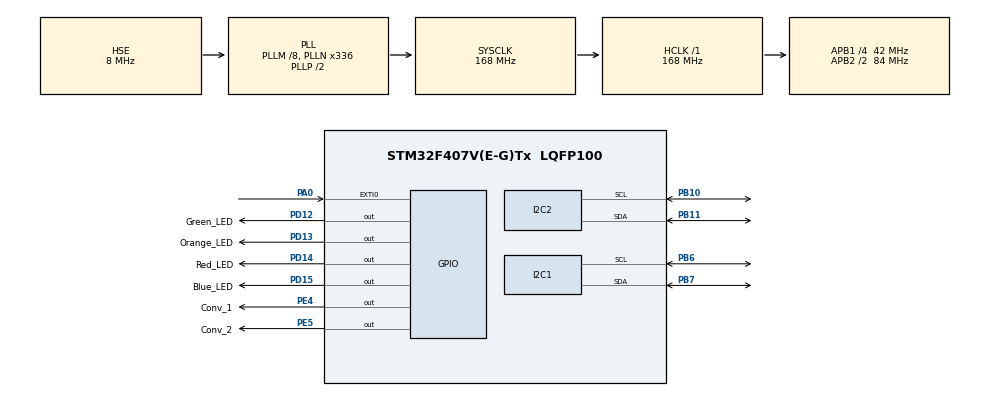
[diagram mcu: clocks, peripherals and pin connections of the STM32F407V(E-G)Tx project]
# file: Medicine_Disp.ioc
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Mcu.Family=STM32F4
Mcu.Name=STM32F407V(E-G)Tx
Mcu.Package=LQFP100
NVIC.PriorityGroup=NVIC_PRIORITYGROUP_0
PA0-WKUP.Signal=GPXTI0
PB10.Mode=I2C
PB10.Signal=I2C2_SCL
PB11.Mode=I2C
PB11.Signal=I2C2_SDA
PB6.Mode=I2C
PB6.Signal=I2C1_SCL
PB7.Mode=I2C
PB7.Signal=I2C1_SDA
PD12.GPIO_Label=Green_LED
PD12.Signal=GPIO_Output
PD13.GPIO_Label=Orange_LED
PD13.Signal=GPIO_Output
PD14.GPIO_Label=Red_LED
PD14.Signal=GPIO_Output
PD15.GPIO_Label=Blue_LED
PD15.Signal=GPIO_Output
PE4.GPIO_Label=Conv_1
PE4.Signal=GPIO_Output
PE5.GPIO_Label=Conv_2
PE5.Signal=GPIO_Output
PH0-OSC_IN.Mode=HSE-External-Oscillator
PH0-OSC_IN.Signal=RCC_OSC_IN
PH1-OSC_OUT.Mode=HSE-External-Oscillator
PH1-OSC_OUT.Signal=RCC_OSC_OUT
ProjectManager.HeapSize=0x200
ProjectManager.StackSize=0x400
ProjectManager.TargetToolchain=MDK-ARM V5.32
RCC.48MHZClocksFreq_Value=48000000
RCC.AHBFreq_Value=168000000
RCC.APB1CLKDivider=RCC_HCLK_DIV4
RCC.APB1Freq_Value=42000000
RCC.APB1TimFreq_Value=84000000
RCC.APB2CLKDivider=RCC_HCLK_DIV2
RCC.APB2Freq_Value=84000000
RCC.APB2TimFreq_Value=168000000
RCC.CortexFreq_Value=168000000
RCC.HCLKFreq_Value=168000000
RCC.HSE_VALUE=8000000
RCC.HSI_VALUE=16000000
RCC.PLLM=8
RCC.PLLN=336
RCC.PLLQ=7
RCC.PLLSourceVirtual=RCC_PLLSOURCE_HSE
RCC.SYSCLKFreq_VALUE=168000000
RCC.SYSCLKSource=RCC_SYSCLKSOURCE_PLLCLK
RCC.VCOOutputFreq_Value=336000000
board=STM32F407G-DISC1

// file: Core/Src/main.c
/* USER CODE BEGIN Header */
/**
  ******************************************************************************
  * @file           : main.c
  * @brief          : Main program body
  ******************************************************************************
  * @attention
  *
  * Copyright (c) 2025 STMicroelectronics.
  * All rights reserved.
  *
  * This software is licensed under terms that can be found in the LICENSE file
  * in the root directory of this software component.
  * If no LICENSE file comes with this software, it is provided AS-IS.
  *
  ******************************************************************************
  */
/* USER CODE END Header */
#include "main.h"
#include "i2c.h"
#include "gpio.h"

/* USER CODE BEGIN Includes */
#include "pn532_stm32f4.h"
#include <string.h>   // for memcmp
#include "i2c-lcd.h"

/* USER CODE END Includes */

/* USER CODE BEGIN PV */
typedef struct {
    uint8_t uid[16];      // UID bytes (max 16 bytes, change if needed)
    uint8_t uid_len;      // Length of the UID
    char name[32];        // Name associated with the tag
    uint8_t tab1;         // Custom field tab1
    uint8_t tab2;         // Custom field tab2
} RFID_Data_t;

RFID_Data_t Data[3];

/* USER CODE END PV */

void SystemClock_Config(void);
 void MX_GPIO_Init(void);
 void MX_I2C1_Init(void);
 void MX_I2C2_Init(void);

/* USER CODE BEGIN 0 */
void ConvA_Start(void)
{
    HAL_GPIO_WritePin(GPIOE, GPIO_PIN_4, GPIO_PIN_SET);   // IN1 = 1

}

void ConvB_Start(void)
{
    HAL_GPIO_WritePin(GPIOE, GPIO_PIN_5, GPIO_PIN_SET);   // IN1 = 1
}

void ConvA_Stop(void)
{
    HAL_GPIO_WritePin(GPIOE,
        GPIO_PIN_4,
        GPIO_PIN_RESET
    );
}

void ConvB_Stop(void)
{
    HAL_GPIO_WritePin(GPIOE,
        GPIO_PIN_5,
        GPIO_PIN_RESET
    );
}
/*
#define AUTH_UID_LENGTH 4
#define AUTH_UID_LENGTH_1 7
uint8_t auth_uid[AUTH_UID_LENGTH] = {0x89, 0xCE, 0xAB, 0x5A};
uint8_t auth_uid1[AUTH_UID_LENGTH_1] = {0x04, 0x5F, 0x3B, 0x42, 0xE3, 0x73, 0x80};
uint8_t auth_uid2[AUTH_UID_LENGTH_1] = {0x04, 0x11, 0x27, 0x42, 0xE3, 0x73, 0x81};
*/
/* USER CODE END 0 */

int main(void)
{
Data[0] = (RFID_Data_t){ {0x89, 0xCE, 0xAB, 0x5A}, 4, "Shreesha", 1, 1 };
Data[1] = (RFID_Data_t){ {0x04, 0x5F, 0x3B, 0x42, 0xE3, 0x73, 0x80}, 7, "Rickin", 1, 0};
Data[2] = (RFID_Data_t){ {0x04, 0x6C, 0xA5, 0x5A, 0xE5, 0x73, 0x80}, 7, "Abhishek", 0, 1 };

/* USER CODE BEGIN 1 */
uint8_t buff[255];
	uint8_t uid[MIFARE_UID_MAX_LENGTH];
	int32_t uid_len = 0;

  /* USER CODE END 1 */

  /* MCU Configuration--------------------------------------------------------*/

  /* Reset of all peripherals, Initializes the Flash interface and the Systick. */
  HAL_Init();

  /* Configure the system clock */
  SystemClock_Config();

  /* Initialize all configured peripherals */
  MX_GPIO_Init();
  MX_I2C1_Init();
  MX_I2C2_Init();

  /* USER CODE BEGIN 2 */

	lcd_init();

 PN532 pn532;
  PN532_Init(&pn532);
  PN532_GetFirmwareVersion(&pn532, buff);
  if (PN532_GetFirmwareVersion(&pn532, buff) == PN532_STATUS_OK) {
	  HAL_GPIO_TogglePin(GPIOD, GPIO_PIN_15);
	  HAL_Delay(500);

  } else {
    return -1;
  }
  PN532_SamConfiguration(&pn532);

	        HAL_GPIO_TogglePin(GPIOD, GPIO_PIN_14);

						lcd_clear();
						HAL_Delay(500);
						lcd_send_cmd (0x80|0x01);
						lcd_send_string("MEDICINE DISPENCER");
  /* USER CODE END 2 */

  /* Infinite loop */
  /* USER CODE BEGIN WHILE */

	bool check = 0;
while (1)
{
    char name[32] = "";
    uid_len = PN532_ReadPassiveTarget(&pn532, uid, PN532_MIFARE_ISO14443A, 1000);

    if (uid_len == PN532_STATUS_ERROR) {
        lcd_send_cmd (0x80|0x14);
        lcd_send_string("Scan your Card");
        HAL_GPIO_TogglePin(GPIOD, GPIO_PIN_14);
        HAL_Delay(200);
    }
    else
    {
        check = 0;

        for(int i = 0; i < 3; i++)
        {
            if(uid_len == Data[i].uid_len && memcmp(uid, Data[i].uid, Data[i].uid_len) == 0)
            {
                check = 1;

                strcat(name, "Medicine, ");
                strcat(name, Data[i].name);

                for(int j = 0; j < Data[i].tab1; j++) {
                    ConvB_Start();
                    HAL_Delay(170);
                    ConvB_Stop();
                    HAL_Delay(100);
                }

                for(int j = 0; j < Data[i].tab2; j++) {
                    ConvA_Start();
                    HAL_Delay(170);
                    ConvA_Stop();
                    HAL_Delay(100);
                }

                lcd_send_cmd (0x80|0x14);
                lcd_send_string("Please collect your");
                lcd_send_cmd (0x80|0x54);
                lcd_send_string(name);

                HAL_Delay(1500);
                break;
            }
        }

        if (check == 0) {
            HAL_Delay(200);
            lcd_send_cmd(0x80 | 0x14);
            lcd_send_string("Card not registered");
            HAL_GPIO_TogglePin(GPIOD, GPIO_PIN_14);
            HAL_Delay(1500);
        }

        lcd_clear();
        HAL_Delay(500);
        lcd_send_cmd (0x80|0x01);
        lcd_send_string("MEDICINE DISPENCER");
    }
}
}

void SystemClock_Config(void)
{
  RCC_OscInitTypeDef RCC_OscInitStruct = {0};
  RCC_ClkInitTypeDef RCC_ClkInitStruct = {0};

  /** Configure the main internal regulator output voltage
  */
  __HAL_RCC_PWR_CLK_ENABLE();
  __HAL_PWR_VOLTAGESCALING_CONFIG(PWR_REGULATOR_VOLTAGE_SCALE1);

  /** Initializes the RCC Oscillators according to the specified parameters
  * in the RCC_OscInitTypeDef structure.
  */
  RCC_OscInitStruct.OscillatorType = RCC_OSCILLATORTYPE_HSE;
  RCC_OscInitStruct.HSEState = RCC_HSE_ON;
  RCC_OscInitStruct.PLL.PLLState = RCC_PLL_ON;
  RCC_OscInitStruct.PLL.PLLSource = RCC_PLLSOURCE_HSE;
  RCC_OscInitStruct.PLL.PLLM = 8;
  RCC_OscInitStruct.PLL.PLLN = 336;
  RCC_OscInitStruct.PLL.PLLP = RCC_PLLP_DIV2;
  RCC_OscInitStruct.PLL.PLLQ = 7;
  if (HAL_RCC_OscConfig(&RCC_OscInitStruct) != HAL_OK)
  {
    Error_Handler();
  }

  /** Initializes the CPU, AHB and APB buses clocks
  */
  RCC_ClkInitStruct.ClockType = RCC_CLOCKTYPE_HCLK|RCC_CLOCKTYPE_SYSCLK
                              |RCC_CLOCKTYPE_PCLK1|RCC_CLOCKTYPE_PCLK2;
  RCC_ClkInitStruct.SYSCLKSource = RCC_SYSCLKSOURCE_PLLCLK;
  RCC_ClkInitStruct.AHBCLKDivider = RCC_SYSCLK_DIV1;
  RCC_ClkInitStruct.APB1CLKDivider = RCC_HCLK_DIV4;
  RCC_ClkInitStruct.APB2CLKDivider = RCC_HCLK_DIV2;

  if (HAL_RCC_ClockConfig(&RCC_ClkInitStruct, FLASH_LATENCY_5) != HAL_OK)
  {
    Error_Handler();
  }
}

void Error_Handler(void)
{
  __disable_irq();
  while (1)
  {
  }
}
